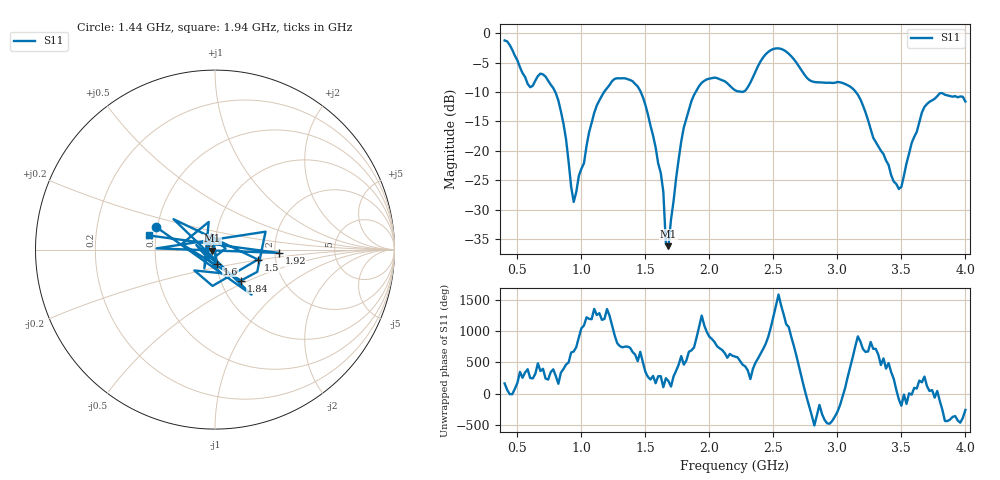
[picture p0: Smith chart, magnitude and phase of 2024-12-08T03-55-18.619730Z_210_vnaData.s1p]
!Created with skrf (http://scikit-rf.org).
# Hz S RI R 50.0
!freq ReS11 ImS11
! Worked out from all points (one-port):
!   181 points, 400 MHz to 4 GHz, reference 50 ohm
!   lowest |S11| = -36.2 dB at 1.68 GHz (marker M1), VSWR 1.03, Z = 48.6 - j0.539 ohm
!   |S11| at or under -10 dB: 795.8 MHz to 1.177 GHz (381.2 MHz wide, 38.6 % of centre); 1.464 GHz to 1.893 GHz (429.7 MHz wide, 25.6 % of centre); 3.144 GHz to end of sweep
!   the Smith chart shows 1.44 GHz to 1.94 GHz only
!   S11 on the Smith chart (normalised r, x): 1.44 GHz: 0.49, +0.14; 1.5 GHz: 1.62, -0.19; 1.6 GHz: 1.01, -0.16; 1.84 GHz: 1.25, -0.45; 1.92 GHz: 2.10, -0.09; 1.94 GHz: 0.45, +0.08
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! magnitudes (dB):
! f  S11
! 400 MHz  -1.3
! 600 MHz  -9.2
! 720 MHz  -7.4
! 800 MHz  -10.2
! 860 MHz  -15.4
! 940 MHz  -28.7
! 1.12 GHz  -12.3
! 1.3 GHz  -7.7
! 1.44 GHz  -9.1
! 1.5 GHz  -12.2
! 1.6 GHz  -22.1
! 1.64 GHz  -26.9
! 1.66 GHz  -35.8
! 1.68 GHz  -36.2
! 1.76 GHz  -21.4
! 1.84 GHz  -12.9
! 1.92 GHz  -9.0
! 1.94 GHz  -8.4
! 2.2 GHz  -9.7
! 2.28 GHz  -9.8
! 2.48 GHz  -2.9
! 2.66 GHz  -4.4
! 2.8 GHz  -8.2
! 3.1 GHz  -9.1
! 3.48 GHz  -26.4
! 3.56 GHz  -20.4
! 3.7 GHz  -12.0
! 4 GHz  -11.6
